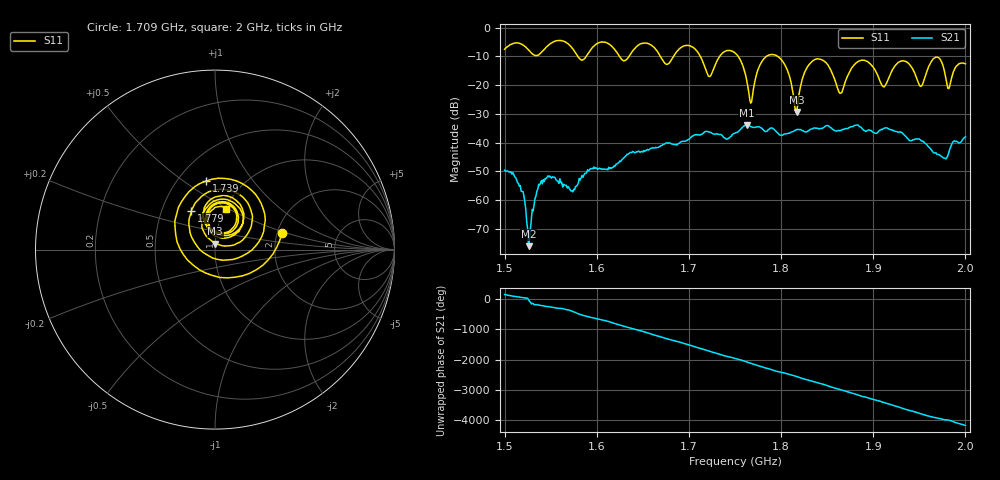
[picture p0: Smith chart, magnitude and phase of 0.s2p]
! NanoVNA-App by SYSJOINT et al v1.1.209 (+OD18)
! Date: 2026-01-21 14:23:58
! Start: 1,5GHz Stop: 2GHz Points: 501
! S-Parameter data: F S11 S21 S12 S22
# Hz S RI R 50
!  Frequency  S11_Real  S11_Imag  S21_Real  S21_Imag  S12_Real  S12_Imag  S22_Real  S22_Imag
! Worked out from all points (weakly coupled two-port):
!   501 points, 1.5 GHz to 2 GHz, reference 50 ohm
!   highest |S21| = -33.84 dB at 1.763 GHz (marker M1); lowest = -76.0 dB at 1.526 GHz (marker M2)
!   lowest |S11| = -29.4 dB at 1.817 GHz (marker M3), VSWR 1.07, Z = 49.9 + j3.4 ohm
!   |S11| at or under -10 dB: 1.712 GHz to 1.733 GHz (21.07 MHz wide, 1.22 % of centre); 1.753 GHz to 1.784 GHz (30.67 MHz wide, 1.73 % of centre); 1.796 GHz to end of sweep (the widest 3 of 6)
!   S12 and S22 are empty: the file has one direction only
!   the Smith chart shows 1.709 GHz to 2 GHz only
!   S11 on the Smith chart (normalised r, x): 1.709 GHz: 2.12, +0.46; 1.739 GHz: 0.68, +0.61; 1.779 GHz: 0.70, +0.33; 2 GHz: 1.02, +0.49
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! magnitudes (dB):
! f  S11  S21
! 1.5 GHz  -7.5  -49.6
! 1.519 GHz  -5.9  -57.0
! 1.526 GHz  -7.8  -76.0
! 1.539 GHz  -8.9  -54.0
! 1.584 GHz  -11.3  -51.5
! 1.667 GHz  -8.9  -41.7
! 1.709 GHz  -8.3  -37.3
! 1.722 GHz  -17.0  -36.3
! 1.739 GHz  -8.3  -38.4
! 1.75 GHz  -8.8  -36.8
! 1.763 GHz  -18.8  -33.8
! 1.768 GHz  -25.9  -34.6
! 1.779 GHz  -11.9  -35.0
! 1.801 GHz  -11.4  -37.4
! 1.817 GHz  -29.4  -35.5
! 1.834 GHz  -11.7  -35.2
! 1.864 GHz  -22.8  -35.8
! 1.886 GHz  -11.5  -34.5
! 1.917 GHz  -17.4  -35.3
! 1.977 GHz  -14.8  -45.4
! 1.982 GHz  -21.2  -43.4
! 2 GHz  -12.6  -38.0
